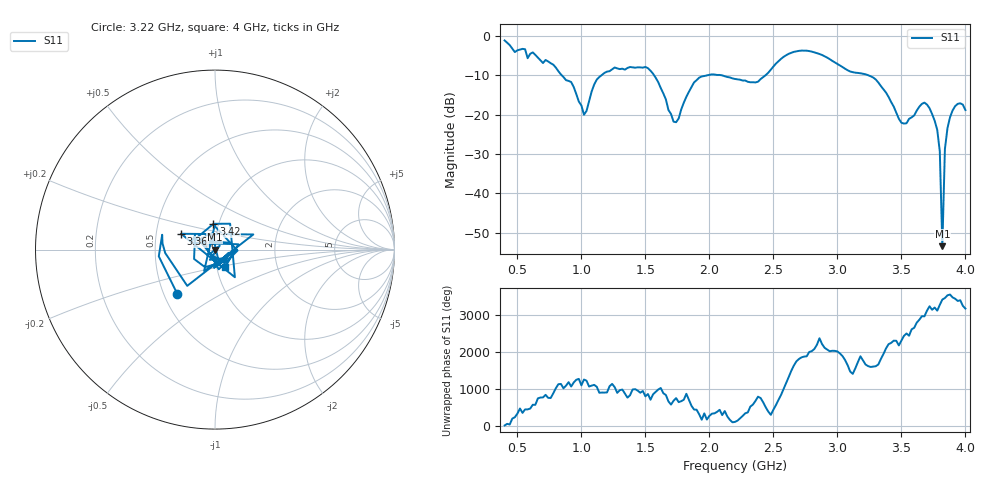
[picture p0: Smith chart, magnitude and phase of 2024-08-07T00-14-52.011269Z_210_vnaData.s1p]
!Created with skrf (http://scikit-rf.org).
# Hz S RI R 50.0
!freq ReS11 ImS11
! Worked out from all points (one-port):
!   181 points, 400 MHz to 4 GHz, reference 50 ohm
!   lowest |S11| = -53.4 dB at 3.82 GHz (marker M1), VSWR 1.00, Z = 49.8 - j0.00776 ohm
!   |S11| at or under -10 dB: 1.567 GHz to 1.99 GHz (422.5 MHz wide, 23.8 % of centre); 2.089 GHz to 2.44 GHz (351.3 MHz wide, 15.5 % of centre); 3.238 GHz to end of sweep (the widest 3 of 4)
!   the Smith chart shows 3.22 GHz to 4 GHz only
!   S11 on the Smith chart (normalised r, x): 3.22 GHz: 0.59, -0.32; 3.36 GHz: 0.67, +0.12; 3.42 GHz: 0.94, +0.28; 4 GHz: 1.10, -0.22
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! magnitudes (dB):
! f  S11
! 400 MHz  -1.2
! 860 MHz  -10.5
! 920 MHz  -11.8
! 1.02 GHz  -20.1
! 1.12 GHz  -11.1
! 1.3 GHz  -8.5
! 1.52 GHz  -8.2
! 1.6 GHz  -11.8
! 1.72 GHz  -21.8
! 1.76 GHz  -21.0
! 1.92 GHz  -10.6
! 2.2 GHz  -11.0
! 2.38 GHz  -11.7
! 2.66 GHz  -4.1
! 3.1 GHz  -9.1
! 3.22 GHz  -9.8
! 3.36 GHz  -13.6
! 3.42 GHz  -16.8
! 3.5 GHz  -22.1
! 3.56 GHz  -21.1
! 3.68 GHz  -17.0
! 3.78 GHz  -23.9
! 3.8 GHz  -29.4
! 3.82 GHz  -53.4
! 3.84 GHz  -28.8
! 3.86 GHz  -23.5
! 3.92 GHz  -17.9
! 4 GHz  -18.9
